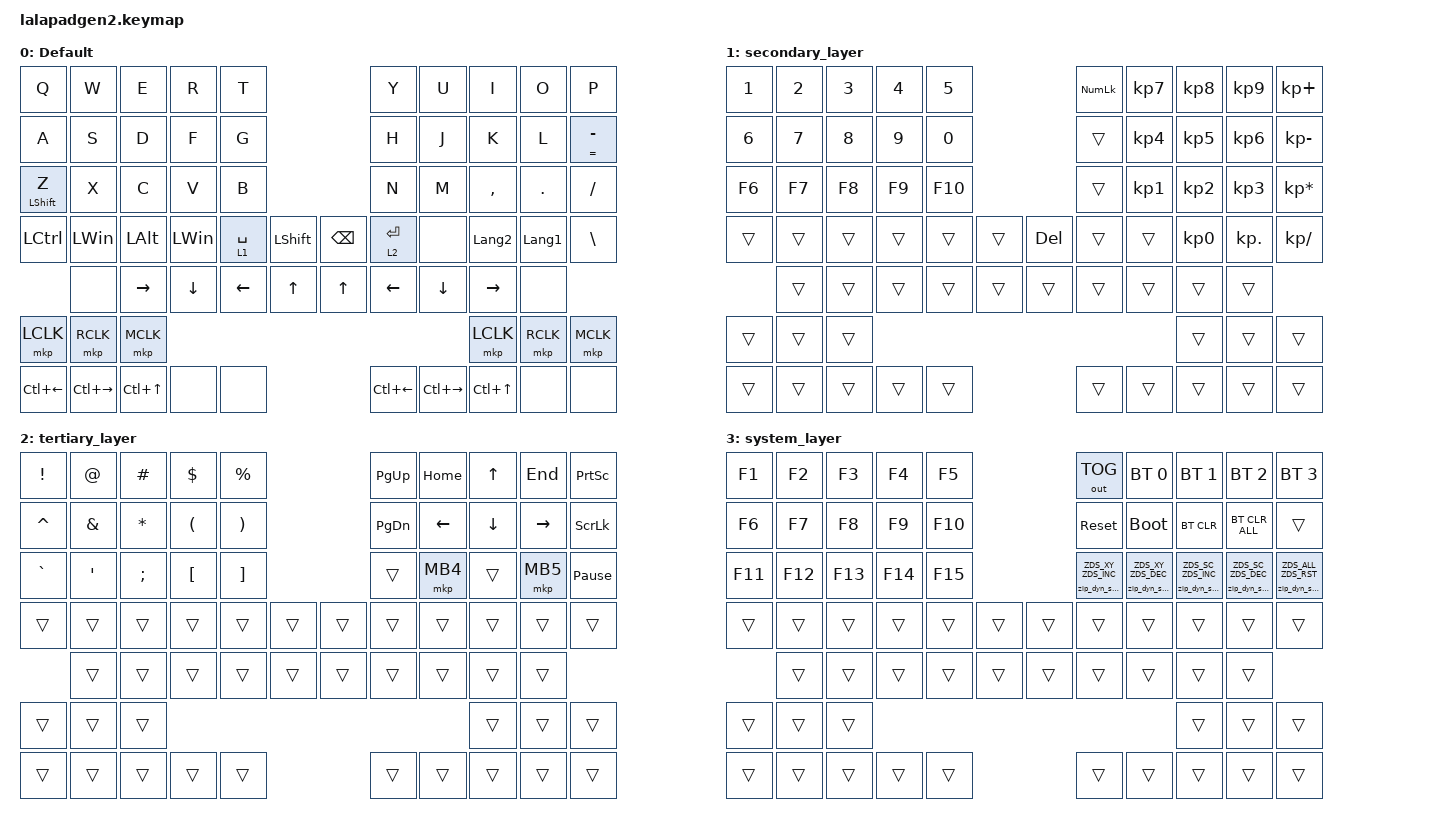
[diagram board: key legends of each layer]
#include <input/processors.dtsi>
#include <dt-bindings/zmk/zip_dynamic_scale.h>
#include <behaviors.dtsi>
#include <dt-bindings/zmk/bt.h>
#include <dt-bindings/zmk/keys.h>
#include <dt-bindings/zmk/outputs.h>
#include <dt-bindings/zmk/pointing.h>

#define DEFAULT_LAYER   0
#define SECONDARY_LAYER 1
#define TERTIARY_LAYER  2
#define SYSTEM_LAYER    3

// keymap-note: 左右の1本指: タップ → 200 ms以内に再接触 → 保持して移動でドラッグ、離すとドロップ。

&mt { quick-tap-ms = <200>; };

&lt { quick-tap-ms = <200>; };

/ {
    behaviors {
        zip_dyn_scale: zip_dyn_scale {
            compatible = "zmk,behavior-zip-dynamic-scale";
            #binding-cells = <2>;
        };

        zip_dyn_scale_set: zip_dyn_scale_set {
            compatible = "zmk,behavior-zip-dynamic-scale-set";
            #binding-cells = <2>;
        };

        mt2: mod_tap2 {
            compatible = "zmk,behavior-hold-tap";
            #binding-cells = <2>;
            flavor = "tap-preferred";
            tapping-term-ms = <200>;
            quick-tap-ms = <200>;
            require-prior-idle-ms = <125>;
            bindings = <&kp>, <&kp>;
        };

        tap_dance_layer_1and2: tap_dance_layer_1and2 {
            compatible = "zmk,behavior-tap-dance";
            label = "td_mo12";
            #binding-cells = <0>;
            bindings = <&mo 1>, <&mo 2>;
        };
    };

    combos {
        compatible = "zmk,combos";

        CONBO_ESC {
            bindings = <&kp ESCAPE>;
            key-positions = <0 1>;
        };

        COMBO_TAB {
            bindings = <&kp TAB>;
            key-positions = <10 11>;
        };

        COMBO_EISU {
            timeout-ms = <50>;
            bindings = <&kp LANGUAGE_2>;
            key-positions = <12 13>; // D + F
            layers = <DEFAULT_LAYER>;
        };

        COMBO_KANA {
            timeout-ms = <50>;
            bindings = <&kp LANGUAGE_1>;
            key-positions = <16 17>; // J + K
            layers = <DEFAULT_LAYER>;
        };
    };

    keymap {
        compatible = "zmk,keymap";

        DEFAULT_LAYER {
            display-name = "Default";
            // IQS9151 v1.0.0: BTN_3 = swipe right, BTN_4 = swipe left,
            // BTN_5 = swipe up. Match macOS: Ctrl+Left / Ctrl+Right / Ctrl+Up.
            // One/two/three-finger taps: left/right/middle click on either pad.
            // Swipe down and pinch have no action.
            bindings = <
&kp Q              &kp W      &kp E         &kp R      &kp T                                     &kp Y      &kp U     &kp I           &kp O           &kp P
&kp A              &kp S      &kp D         &kp F      &kp G                                     &kp H      &kp J     &kp K           &kp L           &mt2 EQUAL MINUS
&mt2 LEFT_SHIFT Z  &kp X      &kp C         &kp V      &kp B                                     &kp N      &kp M     &kp COMMA       &kp PERIOD      &kp SLASH
&kp LCTRL          &kp LWIN   &kp LEFT_ALT  &kp LWIN   &lt 1 SPACE  &kp LEFT_SHIFT  &kp BACKSPACE  &lt 2 ENTER  &none     &kp LANGUAGE_2  &kp LANGUAGE_1  &kp BACKSLASH
                   &none      &kp RIGHT     &kp DOWN   &kp LEFT   &kp UP          &kp UP         &kp LEFT   &kp DOWN  &kp RIGHT       &none
&mkp LCLK          &mkp RCLK  &mkp MCLK                                                                               &mkp LCLK       &mkp RCLK       &mkp MCLK
&kp LC(LEFT)       &kp LC(RIGHT)  &kp LC(UP)  &none  &none                                      &kp LC(LEFT)  &kp LC(RIGHT)  &kp LC(UP)  &none  &none
            >;
        };

        SECONDARY_LAYER {
            display-name = "secondary_layer";
            bindings = <
&kp NUMBER_1      &kp NUMBER_2       &kp NUMBER_3  &kp NUMBER_4  &kp N5                    &kp KP_NUMLOCK    &kp KP_NUMBER_7    &kp KP_NUMBER_8  &kp KP_NUMBER_9  &kp KP_PLUS
&kp NUMBER_6      &kp N7             &kp N8        &kp N9        &kp N0                    &trans            &kp KP_NUMBER_4    &kp KP_NUMBER_5  &kp KP_NUMBER_6  &kp KP_MINUS
&kp F6            &kp F7             &kp F8        &kp F9        &kp F10                   &trans            &kp KP_NUMBER_1    &kp KP_NUMBER_2  &kp KP_NUMBER_3  &kp KP_ASTERISK
&trans            &trans             &trans        &trans        &trans   &trans  &kp DEL  &trans            &trans             &kp KP_NUMBER_0  &kp KP_DOT       &kp KP_DIVIDE
                  &trans             &trans        &trans        &trans   &trans  &trans   &trans            &trans             &trans           &trans
&trans            &trans             &trans                                                                                     &trans           &trans           &trans
&trans            &trans             &trans        &trans        &trans                    &trans            &trans             &trans           &trans           &trans
            >;
        };

        TERTIARY_LAYER {
            display-name = "tertiary_layer";
            bindings = <
&kp EXCLAMATION  &kp AT_SIGN    &kp HASH      &kp DOLLAR            &kp PERCENT                            &kp PAGE_UP    &kp HOME  &kp UP_ARROW    &kp END    &kp PRINTSCREEN
&kp CARET        &kp AMPERSAND  &kp ASTERISK  &kp LEFT_PARENTHESIS  &kp RIGHT_PARENTHESIS                  &kp PAGE_DOWN  &kp LEFT  &kp DOWN_ARROW  &kp RIGHT  &kp SCROLLLOCK
&kp GRAVE        &kp SQT        &kp SEMI      &kp LEFT_BRACKET      &kp RIGHT_BRACKET                      &trans         &mkp MB4  &trans          &mkp MB5   &kp PAUSE_BREAK
&trans           &trans         &trans        &trans                &trans                 &trans  &trans  &trans         &trans    &trans          &trans     &trans
                 &trans         &trans        &trans                &trans                 &trans  &trans  &trans         &trans    &trans          &trans
&trans           &trans         &trans                                                                                              &trans          &trans     &trans
&trans           &trans         &trans        &trans                &trans                                 &trans         &trans    &trans          &trans     &trans
            >;
        };

        SYSTEM_LAYER {
            display-name = "system_layer";
            bindings = <
&kp F1   &kp F2   &kp F3   &kp F4   &kp F5                   &out OUT_TOG                   &bt BT_SEL 0                   &bt BT_SEL 1                   &bt BT_SEL 2                   &bt BT_SEL 3
&kp F6   &kp F7   &kp F8   &kp F9   &kp F10                  &sys_reset                     &bootloader                    &bt BT_CLR                     &bt BT_CLR_ALL                 &trans
&kp F11  &kp F12  &kp F13  &kp F14  &kp F15                  &zip_dyn_scale ZDS_XY ZDS_INC  &zip_dyn_scale ZDS_XY ZDS_DEC  &zip_dyn_scale ZDS_SC ZDS_INC  &zip_dyn_scale ZDS_SC ZDS_DEC  &zip_dyn_scale ZDS_ALL ZDS_RST
&trans   &trans   &trans   &trans   &trans   &trans  &trans  &trans                         &trans                         &trans                         &trans                         &trans
         &trans   &trans   &trans   &trans   &trans  &trans  &trans                         &trans                         &trans                         &trans
&trans   &trans   &trans                                                                                                   &trans                         &trans                         &trans
&trans   &trans   &trans   &trans   &trans                   &trans                         &trans                         &trans                         &trans                         &trans
            >;
        };
    };

    conditional_layers {
        compatible = "zmk,conditional-layers";

        Cond_Syslayer {
            if-layers = <1 2>;
            then-layer = <3>;
        };
    };
};
